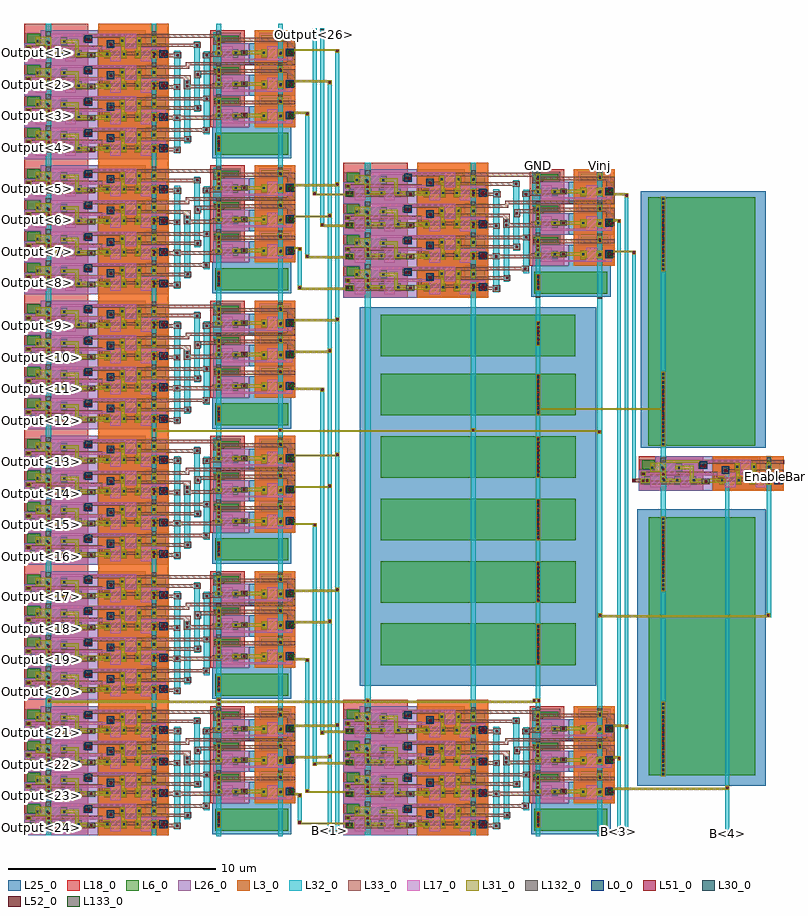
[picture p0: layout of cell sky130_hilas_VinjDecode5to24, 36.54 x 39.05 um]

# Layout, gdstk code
from math import pi, radians
import gdstk
lib = gdstk.Library(unit=1e-6, precision=1e-09)
def R(c, l, rs):  # rectangles x0, y0, x1, y1
    for r in rs: c.add(gdstk.rectangle(r[:2], r[2:], *l))
def A(c, l, x, y, w, h, nx, ny, dx, dy):  # array of equal rectangles
    R(c, l, [(x+i*dx, y+j*dy, x+i*dx+w, y+j*dy+h) for i in range(nx) for j in range(ny)])
L0_0 = (0, 0)
L3_0 = (3, 0)
L6_0 = (6, 0)
L17_0 = (17, 0)
L18_0 = (18, 0)
L25_0 = (25, 0)
L26_0 = (26, 0)
L30_0 = (30, 0)
L31_0 = (31, 0)
L32_0 = (32, 0)
L33_0 = (33, 0)
L51_0 = (51, 0)
L52_0 = (52, 0)
L132_0 = (132, 0)
L133_0 = (133, 0)

sky130_hilas_vinjnor3 = lib.new_cell('sky130_hilas_VinjNOR3')
R(sky130_hilas_vinjnor3, L0_0, [(-3.27,1.75,-2.9,2.12), (-0.74,2.24,-0.37,2.61), (0.32,2.48,0.69,2.85)])
R(sky130_hilas_vinjnor3, L3_0, [(-3.36,1.42,0.05,3.08)])
R(sky130_hilas_vinjnor3, L6_0, [(-2.79,1.73,-1.71,2.13), (-1.32,1.73,-0.26,2.13), (0.84,1.73,1.91,2.13), (2.27,1.73,3.34,2.13), (-2.06,2.35,-0.98,2.75), (1.53,2.35,2.61,2.75), (-3.2,2.44,-2.255,2.755), (2.84,2.47,3.445,2.91)])
R(sky130_hilas_vinjnor3, L17_0, [(-2.52,1.59,-2,2.18), (-1.05,1.59,-0.53,2.18), (1.13,1.59,1.63,2.18), (2.55,1.59,3.05,2.27), (-3.21,1.77,-2.95,2.18), (-3.21,2.18,-2,2.27), (-1.05,2.18,1.63,2.23), (2.55,2.18,3.46,2.3), (-1.78,2.21,-1.26,2.8), (1.84,2.21,2.34,2.8), (-1.05,2.23,1.63,2.25), (-1.05,2.25,1.63,2.3), (-0.74,2.3,-0.39,2.57), (0.33,2.51,0.68,2.8), (-1.78,2.8,2.34,2.84), (-1.78,2.84,2.34,2.89), (-1.78,2.89,2.34,2.92)])
R(sky130_hilas_vinjnor3, L18_0, [(-3.36,1.42,0.05,3.08), (0.52,1.42,3.61,3.08)])
R(sky130_hilas_vinjnor3, L25_0, [(-3.36,1.42,0.05,2.42), (-2.235,2.225,0.05,3.08), (2.81,2.45,3.61,2.93)])
R(sky130_hilas_vinjnor3, L26_0, [(0.05,1.42,3.61,2.45), (0.05,2.215,2.81,3.08), (-3.36,2.42,-2.235,2.93)])
R(sky130_hilas_vinjnor3, L30_0, [(-3.135,1.885,-3.045,1.975), (-2.715,1.885,-2.625,1.975), (-1.895,1.885,-1.805,1.975), (-1.245,1.885,-1.155,1.975), (-0.435,1.885,-0.345,1.975), (0.925,1.885,1.015,1.975), (1.725,1.885,1.815,1.975), (2.355,1.885,2.445,1.975), (3.145,1.885,3.235,1.975), (3.33,2.2,3.42,2.29), (-0.605,2.375,-0.515,2.465), (1.635,2.495,1.725,2.585), (2.435,2.495,2.525,2.585), (2.915,2.505,3.005,2.595), (-2.705,2.535,-2.615,2.625), (-1.975,2.535,-1.885,2.625), (-1.165,2.535,-1.075,2.625), (0.455,2.615,0.545,2.705)])
R(sky130_hilas_vinjnor3, L31_0, [(-2.75,1.73,-2.5,2.04), (-3.21,1.75,-2.985,2.11), (-2.01,1.76,-1.76,1.85), (-1.28,1.77,-1.07,1.85), (-0.56,1.81,1.15,2.02), (0.29,1.81,0.46,1.85), (3.085,1.81,3.52,2.02), (-2.01,1.85,-1.76,2.1), (-1.28,1.85,-1.07,2.1), (1.6,1.85,2.57,2.02), (0.98,2.02,1.15,2.46), (2.31,2.02,2.57,2.46), (-2.75,2.04,-2.5,2.1), (-2.01,2.1,-1.8,2.67), (-1.24,2.1,-1.07,2.42), (3.265,2.15,3.475,2.35), (-0.67,2.22,-0.47,2.32), (-0.67,2.32,-0.47,2.49), (2.31,2.35,3.05,2.77), (2.87,2.35,3.05,2.46), (-2.74,2.38,-2.55,2.48), (-1.24,2.42,-1.03,2.67), (0.98,2.46,1.85,2.63), (-2.74,2.48,-2.55,2.65), (-0.67,2.49,-0.47,2.59), (0.38,2.53,0.59,2.73), (2.31,2.64,2.57,2.71), (2.87,2.64,3.05,2.77), (-2.74,2.65,-2.55,2.79), (-2.01,2.67,-1.8,2.75), (-1.24,2.67,-1.03,2.75)])
R(sky130_hilas_vinjnor3, L32_0, [(-2.75,1.53,-2.53,1.73), (2.3,1.53,2.57,3.05), (-2.75,1.73,-2.5,2.04), (-3.305,1.75,-2.97,2.11), (0.19,1.75,0.58,2.02), (3.12,1.76,3.49,2.02), (-2.75,2.04,-2.53,2.44), (3.265,2.15,3.525,2.35), (-0.73,2.28,-0.4,2.54), (-2.75,2.44,-2.52,2.7), (0.32,2.5,0.75,2.79), (-2.75,2.7,-2.53,3.04)])
R(sky130_hilas_vinjnor3, L33_0, [(0.21,1.75,3.51,1.92), (-3.36,1.79,-2.96,1.95), (-2.96,1.89,0,2.05), (0.21,1.92,1.24,1.93), (3.12,1.92,3.51,2.02), (0.21,1.93,0.58,2.01), (-3.36,1.95,-2.96,2.05), (-0.16,2.05,0,2.34), (0,2.18,3.515,2.34), (-3.36,2.28,-0.4,2.44), (-1,2.44,-0.4,2.46), (-0.73,2.46,-0.4,2.54), (0.33,2.5,0.75,2.73), (-3.37,2.73,0.75,2.89)])
R(sky130_hilas_vinjnor3, L51_0, [(-2.68,1.76,-2.58,1.86), (-3.16,1.78,-3.06,1.88), (0.32,1.835,0.42,1.935), (3.155,1.87,3.255,1.97), (3.355,1.87,3.455,1.97), (2.38,1.955,2.48,2.055), (-2.68,1.96,-2.58,2.06), (-3.16,1.98,-3.06,2.08), (2.38,2.18,2.48,2.28), (3.315,2.2,3.415,2.3), (-0.64,2.345,-0.54,2.445), (2.38,2.425,2.48,2.525), (-2.69,2.505,-2.59,2.605), (0.41,2.565,0.51,2.665)])
R(sky130_hilas_vinjnor3, L52_0, [(0.335,1.83,0.435,1.93), (3.145,1.865,3.245,1.965), (3.345,1.865,3.445,1.965), (-3.29,1.87,-3.19,1.97), (-3.09,1.87,-2.99,1.97), (3.345,2.195,3.445,2.295), (-0.605,2.36,-0.505,2.46), (0.36,2.58,0.46,2.68), (0.56,2.58,0.66,2.68)])
R(sky130_hilas_vinjnor3, L132_0, [(-3.3,1.755,-2.975,2.105), (0.195,1.76,0.575,2.01), (-0.72,2.285,-0.405,2.53), (0.33,2.505,0.74,2.78), (2.315,2.79,2.56,3.025), (-2.74,2.815,-2.54,3.025)])
sky130_hilas_vinjnor3.add(gdstk.Label('VGND', (2.425,2.93), layer=132, texttype=0))
sky130_hilas_vinjnor3.add(gdstk.Label('Vinj', (-2.645,2.925), layer=132, texttype=0))
sky130_hilas_vinjnor3.add(gdstk.Label('OUT', (0.375,1.9), layer=132, texttype=0))
sky130_hilas_vinjnor3.add(gdstk.Label('IN2', (-0.565,2.455), layer=132, texttype=0))
sky130_hilas_vinjnor3.add(gdstk.Label('IN1', (0.53,2.715), layer=132, texttype=0))
sky130_hilas_vinjnor3.add(gdstk.Label('NENABLE', (-3.145,2.025), layer=132, texttype=0))

m2_m1_cdns_6649314873913 = lib.new_cell('M2_M1_CDNS_6649314873913')
R(m2_m1_cdns_6649314873913, L31_0, [(-0.09,-0.29,0.09,0.29)])
R(m2_m1_cdns_6649314873913, L32_0, [(-0.09,-0.29,0.09,0.29)])
A(m2_m1_cdns_6649314873913, L51_0, -0.05, -0.25, 0.1, 0.1, 1, 3, 0, 0.2)

sky130_hilas_vinjinv2 = lib.new_cell('sky130_hilas_VinjInv2')
R(sky130_hilas_vinjinv2, L0_0, [(-3.27,1.82,-2.9,2.19)])
R(sky130_hilas_vinjinv2, L3_0, [(-3.36,1.44,-1.4,3.08)])
R(sky130_hilas_vinjinv2, L6_0, [(-2.79,1.77,-1.71,2.17), (-0.62,1.77,0.46,2.17), (-3.06,2.48,-1.725,2.845), (-0.645,2.54,0.54,2.825)])
R(sky130_hilas_vinjinv2, L17_0, [(-3.21,1.63,0.18,1.72), (-2.52,1.63,-2,2.31), (-0.34,1.63,0.18,2.31), (-3.21,1.72,-2.95,2.22)])
R(sky130_hilas_vinjinv2, L18_0, [(-3.36,1.44,-1.4,3.08), (-0.93,1.44,0.73,3.08)])
R(sky130_hilas_vinjinv2, L25_0, [(-3.36,1.44,-1.145,2.46), (-0.735,2.46,0.59,2.95)])
R(sky130_hilas_vinjinv2, L26_0, [(-1.145,1.44,0.59,2.46), (-3.165,2.46,-1.615,2.95)])
R(sky130_hilas_vinjinv2, L30_0, [(0.28,1.94,0.37,2.03), (-3.13,1.95,-3.04,2.04), (-2.71,1.95,-2.62,2.04), (-1.89,1.95,-1.8,2.04), (-0.53,1.95,-0.44,2.04), (-2.7,2.605,-2.61,2.695), (0.28,2.64,0.37,2.73)])
R(sky130_hilas_vinjinv2, L31_0, [(-3.19,1.82,-3,1.9), (-2.75,1.82,-2.5,1.84), (-2.01,1.83,-1.76,1.92), (-2.75,1.84,-2.5,2.11), (-3.19,1.9,-3,2.07), (0.16,1.91,0.49,2.08), (-2.01,1.92,-0.32,2.09), (-3.19,2.07,-3,2.18), (0.24,2.08,0.42,2.86), (-2.01,2.09,-1.76,2.17), (-2.75,2.11,-2.5,2.17), (-2.74,2.555,-2.55,2.655), (-2.74,2.655,-2.55,2.825), (-2.74,2.825,-2.55,2.965)])
R(sky130_hilas_vinjinv2, L32_0, [(-2.75,1.44,-2.53,1.53), (0.21,1.44,0.44,1.53), (-2.75,1.53,-2.53,1.8), (0.21,1.53,0.44,3.04), (-2.75,1.8,-2.5,2.11), (-3.28,1.83,-2.97,2.18), (-1.06,1.87,-0.74,2.13), (-2.75,2.11,-2.53,2.615), (-2.75,2.615,-2.52,2.875), (-2.75,2.875,-2.53,3.01), (-2.75,3.01,-2.53,3.08), (0.21,3.04,0.44,3.08)])
R(sky130_hilas_vinjinv2, L33_0, [(-3.29,1.86,-2.96,2.02), (-1.06,1.87,0.64,2.05), (-3.29,2.02,-2.96,2.12), (-1.06,2.05,-0.74,2.13), (-3.36,2.54,0.54,2.72)])
R(sky130_hilas_vinjinv2, L51_0, [(-3.16,1.85,-3.06,1.95), (-2.68,1.91,-2.58,2.01), (-0.95,1.96,-0.85,2.06), (-3.16,2.05,-3.06,2.15), (-2.69,2.66,-2.59,2.76)])
R(sky130_hilas_vinjinv2, L52_0, [(-3.28,1.94,-3.18,2.04), (-3.08,1.94,-2.98,2.04), (-0.95,1.96,-0.85,2.06)])
R(sky130_hilas_vinjinv2, L132_0, [(-3.27,1.835,-2.98,2.17), (-1.05,1.885,-0.75,2.12), (0.22,2.87,0.435,3.03), (-2.735,2.895,-2.54,2.995)])
sky130_hilas_vinjinv2.add(gdstk.Reference(m2_m1_cdns_6649314873913, (0.33,2.41)))
sky130_hilas_vinjinv2.add(gdstk.Label('VGND', (0.32,2.96), layer=132, texttype=0))
sky130_hilas_vinjinv2.add(gdstk.Label('OUT', (-0.9,2.01), layer=132, texttype=0))
sky130_hilas_vinjinv2.add(gdstk.Label('IN', (-3.12,2.02), layer=132, texttype=0))
sky130_hilas_vinjinv2.add(gdstk.Label('Vinj', (-2.64,2.95), layer=132, texttype=0))

m2_m1_cdns_6649314873910 = lib.new_cell('M2_M1_CDNS_6649314873910')
R(m2_m1_cdns_6649314873910, L31_0, [(-0.09,-0.39,0.09,0.39)])
R(m2_m1_cdns_6649314873910, L32_0, [(-0.09,-0.39,0.09,0.39)])
A(m2_m1_cdns_6649314873910, L51_0, -0.05, -0.35, 0.1, 0.1, 1, 4, 0, 0.2)

m1_od_cdns_6649314873911 = lib.new_cell('M1_OD_CDNS_6649314873911')
R(m1_od_cdns_6649314873911, L6_0, [(-0.075,-0.35,0.075,0.35)])
A(m1_od_cdns_6649314873911, L30_0, -0.045, -0.285, 0.09, 0.09, 1, 3, 0, 0.24)
R(m1_od_cdns_6649314873911, L31_0, [(-0.09,-0.39,0.09,0.39)])

m3_m2_cdns_6649314873912 = lib.new_cell('M3_M2_CDNS_6649314873912')
R(m3_m2_cdns_6649314873912, L32_0, [(-0.09,-0.19,0.09,0.19)])
R(m3_m2_cdns_6649314873912, L33_0, [(-0.09,-0.19,0.09,0.19)])
R(m3_m2_cdns_6649314873912, L52_0, [(-0.05,-0.15,0.05,-0.05), (-0.05,0.05,0.05,0.15)])

sky130_hilas_vinjdecode2 = lib.new_cell('sky130_hilas_VinjDecode2to4')
R(sky130_hilas_vinjdecode2, L3_0, [(6.69,0.13,6.91,0.18), (6.69,6.08,6.91,6.14), (6.08,6.19,9.49,6.5)])
R(sky130_hilas_vinjdecode2, L6_0, [(0.35,0.2,3.865,1.26)])
R(sky130_hilas_vinjdecode2, L18_0, [(6.08,6.19,9.49,6.5), (9.96,6.19,13.05,6.5)])
R(sky130_hilas_vinjdecode2, L25_0, [(0.195,0.04,4.01,1.53)])
R(sky130_hilas_vinjdecode2, L32_0, [(0.61,-0.055,0.83,1.565), (3.57,-0.055,3.8,0.385), (6.69,0,6.91,0.11), (11.74,0,12.01,0.11), (6.69,0.13,6.91,0.18), (5.54,0.27,5.83,1.81), (3.57,0.335,3.8,1.685), (5.06,0.76,5.34,0.79), (5.06,0.79,5.34,1.12), (5.06,1.12,5.34,3.33), (4.12,1.19,4.4,1.24), (4.12,1.24,4.4,1.57), (4.12,1.57,4.4,2.74), (5.54,1.81,5.83,2.16), (5.54,2.16,5.83,4.81), (4.57,2.27,4.87,2.29), (4.57,2.29,4.87,2.62), (4.59,2.62,4.87,3.93), (4.12,2.74,4.4,3.07), (4.12,3.07,4.4,5.19), (0.61,3.085,0.83,4.705), (5.06,3.33,5.34,3.66), (5.06,3.66,5.34,3.785), (4.54,3.93,4.87,4.2), (4.59,4.2,4.87,5.66), (3.63,4.39,3.96,4.42), (3.63,4.42,3.96,4.75), (3.63,4.75,3.96,5.53), (5.54,4.81,5.83,5.16), (5.54,5.16,5.83,5.21), (3.63,5.53,3.96,5.8), (3.63,5.8,3.96,6.09), (0.61,6.07,0.83,6.15), (6.69,6.08,6.91,6.14), (0.61,6.15,0.83,6.5), (3.57,6.15,3.8,6.5), (6.69,6.15,6.91,6.5), (11.74,6.16,12.01,6.5)])
A(sky130_hilas_vinjdecode2, L33_0, 12.82, 1.84, 0.13, 0.17, 1, 3, 0, 1.51)
R(sky130_hilas_vinjdecode2, L33_0, [(5.51,0.3,5.86,0.38), (12.82,0.34,12.95,0.51), (5.51,0.38,6.08,0.54), (5.51,0.54,5.86,0.59), (5.01,0.82,5.34,0.87), (5.01,0.87,6.08,1.03), (5.01,1.03,5.34,1.09), (4.13,1.27,4.46,1.32), (4.13,1.32,6.08,1.48), (4.13,1.48,4.46,1.54), (5.52,1.84,5.87,1.88), (5.52,1.88,6.08,1.89), (3.43,1.89,6.08,2.07), (0,1.95,0.07,1.99), (0,1.99,0.11,2.17), (3.43,2.04,6.01,2.07), (5.52,2.07,5.87,2.13), (0,2.17,0.07,2.21), (4.54,2.32,4.87,2.37), (4.54,2.37,6.08,2.53), (4.54,2.53,4.87,2.59), (4.09,2.77,4.42,2.82), (4.09,2.82,6.08,2.98), (4.09,2.98,4.42,3.04), (5.53,3.33,5.85,3.39), (5.04,3.36,5.37,3.4), (5.53,3.39,6.08,3.55), (3.43,3.4,5.37,3.58), (0,3.46,0.4,4.32), (5.53,3.55,5.85,3.59), (5.04,3.58,5.37,3.63), (5.04,3.63,5.37,3.88), (4.57,3.88,4.84,3.9), (5.04,3.88,6.08,4.04), (4.57,3.9,4.84,4.04), (4.57,4.04,4.84,4.07), (3.43,4.07,4.84,4.23), (3.43,4.23,4.84,4.25), (5.11,4.33,6.07,4.49), (5.11,4.49,5.27,4.5), (0,4.5,5.27,4.66), (0,4.66,0.4,5.65), (5.49,4.84,5.84,4.9), (4.1,4.85,4.45,4.9), (4.1,4.9,4.45,4.91), (5.49,4.9,6.08,5.06), (3.43,4.91,4.45,5.09), (5.49,5.06,5.84,5.13), (4.1,5.09,4.45,5.12), (4.56,5.34,4.89,5.39), (4.56,5.39,6.08,5.55), (3.66,5.5,3.96,5.58), (4.56,5.55,4.89,5.61), (3.43,5.58,3.96,5.76), (3.69,5.76,3.96,5.83), (3.685,5.83,6.075,5.99), (3.69,5.83,3.96,5.84), (3.685,5.99,6.08,6)])
R(sky130_hilas_vinjdecode2, L52_0, [(5.635,0.395,5.735,0.495), (5.125,0.905,5.225,1.005), (4.245,1.355,4.345,1.455), (5.645,1.935,5.745,2.035), (4.655,2.405,4.755,2.505), (4.205,2.855,4.305,2.955), (5.64,3.41,5.74,3.51), (5.155,3.445,5.255,3.545), (4.655,4.015,4.755,4.115), (4.215,4.935,4.315,5.035), (5.615,4.935,5.715,5.035), (4.675,5.425,4.775,5.525)])
R(sky130_hilas_vinjdecode2, L132_0, [(3.58,5.98,3.795,6.14), (0.625,6.005,0.82,6.105)])
R(sky130_hilas_vinjdecode2, L133_0, [(12.59,0.345,12.93,0.58), (12.585,1.875,12.94,2.085), (0.085,1.96,0.38,2.19), (12.585,3.37,12.93,3.6), (0.09,3.47,0.395,3.705), (12.58,4.87,12.935,5.115), (0.08,4.98,0.395,5.225)])
sky130_hilas_vinjdecode2.add(gdstk.Reference(sky130_hilas_vinjnor3, (9.44,-1.42)))
sky130_hilas_vinjdecode2.add(gdstk.Reference(sky130_hilas_vinjnor3, (9.44,3.11)))
sky130_hilas_vinjdecode2.add(gdstk.Reference(sky130_hilas_vinjnor3, (9.44,0.09)))
sky130_hilas_vinjdecode2.add(gdstk.Reference(sky130_hilas_vinjnor3, (9.44,1.6)))
sky130_hilas_vinjdecode2.add(gdstk.Reference(sky130_hilas_vinjinv2, (3.36,0.09)))
sky130_hilas_vinjdecode2.add(gdstk.Reference(sky130_hilas_vinjinv2, (3.36,1.6)))
sky130_hilas_vinjdecode2.add(gdstk.Reference(sky130_hilas_vinjinv2, (3.36,3.11)))
sky130_hilas_vinjdecode2.add(gdstk.Reference(m2_m1_cdns_6649314873910, (3.68,0.745)))
sky130_hilas_vinjdecode2.add(gdstk.Reference(m1_od_cdns_6649314873911, (3.68,0.745)))
sky130_hilas_vinjdecode2.add(gdstk.Reference(m3_m2_cdns_6649314873912, (5.205,3.595)))
sky130_hilas_vinjdecode2.add(gdstk.Label('VGND', (3.68,6.07), layer=132, texttype=0))
sky130_hilas_vinjdecode2.add(gdstk.Label('Vinj', (0.72,6.06), layer=132, texttype=0))
sky130_hilas_vinjdecode2.add(gdstk.Label('OUT11', (12.75,0.465), layer=133, texttype=0))
sky130_hilas_vinjdecode2.add(gdstk.Label('OUT10', (12.795,1.98), layer=133, texttype=0))
sky130_hilas_vinjdecode2.add(gdstk.Label('OUT01', (12.77,3.475), layer=133, texttype=0))
sky130_hilas_vinjdecode2.add(gdstk.Label('OUT00', (12.775,4.985), layer=133, texttype=0))
sky130_hilas_vinjdecode2.add(gdstk.Label('IN1', (0.195,5.125), layer=133, texttype=0))
sky130_hilas_vinjdecode2.add(gdstk.Label('ENABLE', (0.28,2.1), layer=133, texttype=0))
sky130_hilas_vinjdecode2.add(gdstk.Label('IN2', (0.235,3.595), layer=133, texttype=0))

m2_m1_cdns_664931487390 = lib.new_cell('M2_M1_CDNS_664931487390')
R(m2_m1_cdns_664931487390, L31_0, [(-0.09,-0.09,0.09,0.09)])
R(m2_m1_cdns_664931487390, L32_0, [(-0.09,-0.09,0.09,0.09)])
R(m2_m1_cdns_664931487390, L51_0, [(-0.05,-0.05,0.05,0.05)])

m1_od_cdns_664931487396 = lib.new_cell('M1_OD_CDNS_664931487396')
R(m1_od_cdns_664931487396, L6_0, [(-0.075,-0.95,0.075,0.95)])
A(m1_od_cdns_664931487396, L30_0, -0.045, -0.885, 0.09, 0.09, 1, 9, 0, 0.21)
R(m1_od_cdns_664931487396, L31_0, [(-0.09,-0.99,0.09,0.99)])

m2_m1_cdns_664931487397 = lib.new_cell('M2_M1_CDNS_664931487397')
R(m2_m1_cdns_664931487397, L31_0, [(-0.09,-0.99,0.09,0.99)])
R(m2_m1_cdns_664931487397, L32_0, [(-0.09,-0.99,0.09,0.99)])
A(m2_m1_cdns_664931487397, L51_0, -0.05, -0.95, 0.1, 0.1, 1, 10, 0, 0.2)

m2_m1_cdns_664931487398 = lib.new_cell('M2_M1_CDNS_664931487398')
R(m2_m1_cdns_664931487398, L31_0, [(-0.19,-0.09,0.19,0.09)])
R(m2_m1_cdns_664931487398, L32_0, [(-0.19,-0.09,0.19,0.09)])
R(m2_m1_cdns_664931487398, L51_0, [(-0.15,-0.05,-0.05,0.05), (0.05,-0.05,0.15,0.05)])

m2_m1_cdns_664931487399 = lib.new_cell('M2_M1_CDNS_664931487399')
R(m2_m1_cdns_664931487399, L31_0, [(-0.09,-0.19,0.09,0.19)])
R(m2_m1_cdns_664931487399, L32_0, [(-0.09,-0.19,0.09,0.19)])
R(m2_m1_cdns_664931487399, L51_0, [(-0.05,-0.15,0.05,-0.05), (-0.05,0.05,0.05,0.15)])

sky130_hilas_vinjdecode4 = lib.new_cell('sky130_hilas_VinjDecode4to16')
A(sky130_hilas_vinjdecode4, L6_0, 2.54, 8.17, 9.37, 2, 1, 5, 0, 3)
R(sky130_hilas_vinjdecode4, L25_0, [(1.54,7.17,12.91,23.17)])
R(sky130_hilas_vinjdecode4, L31_0, [(27.665,6.365,27.75,6.455), (22.575,19.38,22.7,19.47)])
R(sky130_hilas_vinjdecode4, L32_0, [(1.27,6.15,1.49,26), (7.35,6.15,7.57,26), (12.4,6.16,12.67,26)])
R(sky130_hilas_vinjdecode4, L132_0, [(0,0,0.18,0.08), (0.36,0,0.54,0.08), (13.91,0,14.09,0.065), (14.27,0,14.45,0.055), (0.75,2.235,0.8,2.26), (1.27,25.78,1.49,25.855), (4.23,25.835,4.46,25.915)])
A(sky130_hilas_vinjdecode4, L133_0, 28.83, 0.545, 0.055, 0.025, 1, 4, 0, 1.515)
A(sky130_hilas_vinjdecode4, L133_0, 28.775, 7.045, 0.105, 0.025, 1, 4, 0, 1.515)
A(sky130_hilas_vinjdecode4, L133_0, 28.795, 13.54, 0.075, 0.03, 1, 4, 0, 1.515)
A(sky130_hilas_vinjdecode4, L133_0, 28.8, 20.045, 0.095, 0.02, 1, 4, 0, 1.515)
sky130_hilas_vinjdecode4.add(gdstk.FlexPath([(4.345,6.15),(4.345,26)], 0.23, ends="flush", simple_path=True, layer=32, datatype=0))  # L32_0
sky130_hilas_vinjdecode4.add(gdstk.FlexPath([(0.09,0),(0.09,26)], 0.18, ends="flush", simple_path=True, layer=32, datatype=0))  # L32_0
sky130_hilas_vinjdecode4.add(gdstk.FlexPath([(0.45,0),(0.45,26)], 0.18, ends="flush", simple_path=True, layer=32, datatype=0))  # L32_0
sky130_hilas_vinjdecode4.add(gdstk.FlexPath([(14.72,4.83),(14.72,21.325)], 0.18, ends="flush", simple_path=True, layer=32, datatype=0))  # L32_0
sky130_hilas_vinjdecode4.add(gdstk.FlexPath([(14,0),(14,26)], 0.18, ends="flush", simple_path=True, layer=32, datatype=0))  # L32_0
sky130_hilas_vinjdecode4.add(gdstk.FlexPath([(14.36,0),(14.36,26)], 0.18, ends="flush", simple_path=True, layer=32, datatype=0))  # L32_0
sky130_hilas_vinjdecode4.add(gdstk.FlexPath([(15.08,3.41),(15.08,14.885)], 0.18, ends="flush", simple_path=True, layer=32, datatype=0))  # L32_0
sky130_hilas_vinjdecode4.add(gdstk.FlexPath([(15.8,0.51),(15.8,2)], 0.18, ends="flush", simple_path=True, layer=32, datatype=0))  # L32_0
sky130_hilas_vinjdecode4.add(gdstk.FlexPath([(15.44,2.02),(15.44,8.5)], 0.18, ends="flush", simple_path=True, layer=32, datatype=0))  # L32_0
sky130_hilas_vinjdecode4.add(gdstk.FlexPath([(27.665,6.41),(4.285,6.41)], 0.09, ends="flush", simple_path=True, layer=31, datatype=0))  # L31_0
sky130_hilas_vinjdecode4.add(gdstk.FlexPath([(22.575,19.425),(1.34,19.425)], 0.09, ends="flush", simple_path=True, layer=31, datatype=0))  # L31_0
sky130_hilas_vinjdecode4.add(gdstk.FlexPath([(0.83,5.245),(0.085,5.245)], 0.09, ends="flush", simple_path=True, layer=31, datatype=0))  # L31_0
sky130_hilas_vinjdecode4.add(gdstk.FlexPath([(0.83,3.735),(0.44,3.735)], 0.09, ends="flush", simple_path=True, layer=31, datatype=0))  # L31_0
sky130_hilas_vinjdecode4.add(gdstk.FlexPath([(16.18,24.745),(13.97,24.745)], 0.09, ends="flush", simple_path=True, layer=31, datatype=0))  # L31_0
sky130_hilas_vinjdecode4.add(gdstk.FlexPath([(16.18,18.245),(13.95,18.245)], 0.09, ends="flush", simple_path=True, layer=31, datatype=0))  # L31_0
sky130_hilas_vinjdecode4.add(gdstk.FlexPath([(16.18,16.735),(14.345,16.735)], 0.09, ends="flush", simple_path=True, layer=31, datatype=0))  # L31_0
sky130_hilas_vinjdecode4.add(gdstk.FlexPath([(16.18,23.235),(14.405,23.235)], 0.09, ends="flush", simple_path=True, layer=31, datatype=0))  # L31_0
sky130_hilas_vinjdecode4.add(gdstk.FlexPath([(16.18,11.745),(13.97,11.745)], 0.09, ends="flush", simple_path=True, layer=31, datatype=0))  # L31_0
sky130_hilas_vinjdecode4.add(gdstk.FlexPath([(16.18,10.235),(14.37,10.235)], 0.09, ends="flush", simple_path=True, layer=31, datatype=0))  # L31_0
sky130_hilas_vinjdecode4.add(gdstk.FlexPath([(16.18,5.245),(13.975,5.245)], 0.09, ends="flush", simple_path=True, layer=31, datatype=0))  # L31_0
sky130_hilas_vinjdecode4.add(gdstk.FlexPath([(16.18,3.735),(14.345,3.735)], 0.09, ends="flush", simple_path=True, layer=31, datatype=0))  # L31_0
sky130_hilas_vinjdecode4.add(gdstk.FlexPath([(16.2,21.455),(14.67,21.455)], 0.09, ends="flush", simple_path=True, layer=31, datatype=0))  # L31_0
sky130_hilas_vinjdecode4.add(gdstk.FlexPath([(16.18,14.955),(15.055,14.955)], 0.09, ends="flush", simple_path=True, layer=31, datatype=0))  # L31_0
sky130_hilas_vinjdecode4.add(gdstk.FlexPath([(16.185,8.455),(15.35,8.455)], 0.09, ends="flush", simple_path=True, layer=31, datatype=0))  # L31_0
sky130_hilas_vinjdecode4.add(gdstk.FlexPath([(13.56,4.965),(14.75,4.965)], 0.09, ends="flush", simple_path=True, layer=31, datatype=0))  # L31_0
sky130_hilas_vinjdecode4.add(gdstk.FlexPath([(13.595,3.455),(15.105,3.455)], 0.09, ends="flush", simple_path=True, layer=31, datatype=0))  # L31_0
sky130_hilas_vinjdecode4.add(gdstk.FlexPath([(13.59,2.065),(15.465,2.065)], 0.09, ends="flush", simple_path=True, layer=31, datatype=0))  # L31_0
sky130_hilas_vinjdecode4.add(gdstk.FlexPath([(16.185,1.955),(15.735,1.955)], 0.09, ends="flush", simple_path=True, layer=31, datatype=0))  # L31_0
sky130_hilas_vinjdecode4.add(gdstk.FlexPath([(13.62,0.555),(15.875,0.555)], 0.09, ends="flush", simple_path=True, layer=31, datatype=0))  # L31_0
r = gdstk.Reference(sky130_hilas_vinjdecode2, (16.01,0)); r.repetition = gdstk.Repetition(1, 4, v1=(13.119,0), v2=(0,6.5)); sky130_hilas_vinjdecode4.add(r)
sky130_hilas_vinjdecode4.add(gdstk.Reference(sky130_hilas_vinjdecode2, (0.66,0)))
sky130_hilas_vinjdecode4.add(gdstk.Reference(m2_m1_cdns_664931487390, (22.79,19.47)))
sky130_hilas_vinjdecode4.add(gdstk.Reference(m2_m1_cdns_664931487390, (16.735,19.47)))
sky130_hilas_vinjdecode4.add(gdstk.Reference(m2_m1_cdns_664931487390, (7.46,19.47)))
sky130_hilas_vinjdecode4.add(gdstk.Reference(m2_m1_cdns_664931487390, (1.4,19.38)))
sky130_hilas_vinjdecode4.add(gdstk.Reference(m2_m1_cdns_664931487390, (27.84,6.455)))
sky130_hilas_vinjdecode4.add(gdstk.Reference(m2_m1_cdns_664931487390, (12.53,6.455)))
sky130_hilas_vinjdecode4.add(gdstk.Reference(m2_m1_cdns_664931487390, (0.09,5.2)))
sky130_hilas_vinjdecode4.add(gdstk.Reference(m2_m1_cdns_664931487390, (0.45,3.69)))
sky130_hilas_vinjdecode4.add(gdstk.Reference(m2_m1_cdns_664931487390, (14,24.79)))
sky130_hilas_vinjdecode4.add(gdstk.Reference(m2_m1_cdns_664931487390, (14.36,23.28)))
sky130_hilas_vinjdecode4.add(gdstk.Reference(m2_m1_cdns_664931487390, (14,18.29)))
sky130_hilas_vinjdecode4.add(gdstk.Reference(m2_m1_cdns_664931487390, (14.36,16.78)))
sky130_hilas_vinjdecode4.add(gdstk.Reference(m2_m1_cdns_664931487390, (14,11.79)))
sky130_hilas_vinjdecode4.add(gdstk.Reference(m2_m1_cdns_664931487390, (14.36,10.28)))
sky130_hilas_vinjdecode4.add(gdstk.Reference(m2_m1_cdns_664931487390, (14,5.29)))
sky130_hilas_vinjdecode4.add(gdstk.Reference(m2_m1_cdns_664931487390, (14.36,3.78)))
sky130_hilas_vinjdecode4.add(gdstk.Reference(m2_m1_cdns_664931487390, (14.72,21.41)))
sky130_hilas_vinjdecode4.add(gdstk.Reference(m2_m1_cdns_664931487390, (15.08,14.91)))
sky130_hilas_vinjdecode4.add(gdstk.Reference(m2_m1_cdns_664931487390, (15.44,8.41)))
sky130_hilas_vinjdecode4.add(gdstk.Reference(m2_m1_cdns_664931487390, (14.72,4.92)))
sky130_hilas_vinjdecode4.add(gdstk.Reference(m2_m1_cdns_664931487390, (15.08,3.41)))
sky130_hilas_vinjdecode4.add(gdstk.Reference(m2_m1_cdns_664931487390, (15.44,2.11)))
sky130_hilas_vinjdecode4.add(gdstk.Reference(m2_m1_cdns_664931487390, (15.8,1.91)))
sky130_hilas_vinjdecode4.add(gdstk.Reference(m2_m1_cdns_664931487390, (15.8,0.6)))
sky130_hilas_vinjdecode4.add(gdstk.Reference(m1_od_cdns_664931487396, (4.34,21.17)))
sky130_hilas_vinjdecode4.add(gdstk.Reference(m1_od_cdns_664931487396, (4.345,18.165)))
sky130_hilas_vinjdecode4.add(gdstk.Reference(m1_od_cdns_664931487396, (4.34,15.165)))
sky130_hilas_vinjdecode4.add(gdstk.Reference(m1_od_cdns_664931487396, (4.34,9.17)))
sky130_hilas_vinjdecode4.add(gdstk.Reference(m1_od_cdns_664931487396, (4.345,12.17)))
sky130_hilas_vinjdecode4.add(gdstk.Reference(m2_m1_cdns_664931487397, (4.34,21.17)))
sky130_hilas_vinjdecode4.add(gdstk.Reference(m2_m1_cdns_664931487397, (4.345,18.165)))
sky130_hilas_vinjdecode4.add(gdstk.Reference(m2_m1_cdns_664931487397, (4.34,15.165)))
sky130_hilas_vinjdecode4.add(gdstk.Reference(m2_m1_cdns_664931487397, (4.34,9.17)))
sky130_hilas_vinjdecode4.add(gdstk.Reference(m2_m1_cdns_664931487397, (4.345,12.17)))
sky130_hilas_vinjdecode4.add(gdstk.Reference(m2_m1_cdns_664931487398, (4.42,6.455)))
sky130_hilas_vinjdecode4.add(gdstk.Reference(m2_m1_cdns_664931487399, (19.695,6.41)))
sky130_hilas_vinjdecode4.add(gdstk.Label('Enable', (0.775,2.25), layer=132, texttype=0))
sky130_hilas_vinjdecode4.add(gdstk.Label('B<1>', (14.365,0.055), layer=132, texttype=0))
sky130_hilas_vinjdecode4.add(gdstk.Label('B<0>', (14,0.06), layer=132, texttype=0))
sky130_hilas_vinjdecode4.add(gdstk.Label('B<3>', (0.455,0.06), layer=132, texttype=0))
sky130_hilas_vinjdecode4.add(gdstk.Label('Vinj', (1.37,25.815), layer=132, texttype=0))
sky130_hilas_vinjdecode4.add(gdstk.Label('GND', (4.345,25.865), layer=132, texttype=0))
sky130_hilas_vinjdecode4.add(gdstk.Label('B<2>', (0.1,0.055), layer=132, texttype=0))
sky130_hilas_vinjdecode4.add(gdstk.Label('Out<16>', (28.855,0.56), layer=133, texttype=0))
sky130_hilas_vinjdecode4.add(gdstk.Label('Out<15>', (28.855,2.075), layer=133, texttype=0))
sky130_hilas_vinjdecode4.add(gdstk.Label('Out<14>', (28.855,3.59), layer=133, texttype=0))
sky130_hilas_vinjdecode4.add(gdstk.Label('Out<13>', (28.855,5.105), layer=133, texttype=0))
sky130_hilas_vinjdecode4.add(gdstk.Label('Out<12>', (28.83,7.06), layer=133, texttype=0))
sky130_hilas_vinjdecode4.add(gdstk.Label('Out<11>', (28.83,8.575), layer=133, texttype=0))
sky130_hilas_vinjdecode4.add(gdstk.Label('Out<10>', (28.83,10.09), layer=133, texttype=0))
sky130_hilas_vinjdecode4.add(gdstk.Label('Out<9>', (28.83,11.605), layer=133, texttype=0))
sky130_hilas_vinjdecode4.add(gdstk.Label('Out<8>', (28.825,13.55), layer=133, texttype=0))
sky130_hilas_vinjdecode4.add(gdstk.Label('Out<7>', (28.825,15.065), layer=133, texttype=0))
sky130_hilas_vinjdecode4.add(gdstk.Label('Out<6>', (28.825,16.58), layer=133, texttype=0))
sky130_hilas_vinjdecode4.add(gdstk.Label('Out<5>', (28.825,18.095), layer=133, texttype=0))
sky130_hilas_vinjdecode4.add(gdstk.Label('Out<4>', (28.855,20.06), layer=133, texttype=0))
sky130_hilas_vinjdecode4.add(gdstk.Label('Out<3>', (28.855,21.575), layer=133, texttype=0))
sky130_hilas_vinjdecode4.add(gdstk.Label('Out<1>', (28.855,24.605), layer=133, texttype=0))
sky130_hilas_vinjdecode4.add(gdstk.Label('Out<2>', (28.855,23.09), layer=133, texttype=0))

m3_m2_cdns_664931487391 = lib.new_cell('M3_M2_CDNS_664931487391')
R(m3_m2_cdns_664931487391, L32_0, [(-0.09,-0.09,0.09,0.09)])
R(m3_m2_cdns_664931487391, L33_0, [(-0.09,-0.09,0.09,0.09)])
R(m3_m2_cdns_664931487391, L52_0, [(-0.05,-0.05,0.05,0.05)])

m2_m1_cdns_664931487392 = lib.new_cell('M2_M1_CDNS_664931487392')
R(m2_m1_cdns_664931487392, L31_0, [(-0.09,-1.79,0.09,1.79)])
R(m2_m1_cdns_664931487392, L32_0, [(-0.09,-1.79,0.09,1.79)])
A(m2_m1_cdns_664931487392, L51_0, -0.05, -1.75, 0.1, 0.1, 1, 18, 0, 0.2)

m1_od_cdns_664931487393 = lib.new_cell('M1_OD_CDNS_664931487393')
R(m1_od_cdns_664931487393, L6_0, [(-0.075,-1.755,0.075,1.755)])
A(m1_od_cdns_664931487393, L30_0, -0.045, -1.725, 0.09, 0.09, 1, 17, 0, 0.21)
R(m1_od_cdns_664931487393, L31_0, [(-0.09,-1.79,0.09,1.79)])

m2_m1_cdns_664931487394 = lib.new_cell('M2_M1_CDNS_664931487394')
R(m2_m1_cdns_664931487394, L31_0, [(-0.09,-0.59,0.09,0.59)])
R(m2_m1_cdns_664931487394, L32_0, [(-0.09,-0.59,0.09,0.59)])
A(m2_m1_cdns_664931487394, L51_0, -0.05, -0.55, 0.1, 0.1, 1, 6, 0, 0.2)

m1_od_cdns_664931487395 = lib.new_cell('M1_OD_CDNS_664931487395')
R(m1_od_cdns_664931487395, L6_0, [(-0.075,-0.55,0.075,0.55)])
A(m1_od_cdns_664931487395, L30_0, -0.045, -0.505, 0.09, 0.09, 1, 5, 0, 0.23)
R(m1_od_cdns_664931487395, L31_0, [(-0.09,-0.59,0.09,0.59)])

sky130_hilas_vinjdecode5 = lib.new_cell('sky130_hilas_VinjDecode5to24')
R(sky130_hilas_vinjdecode5, L6_0, [(30.17,2.92,35.285,15.325), (30.14,18.78,35.285,30.71), (17.27,23.065,26.64,25.08)])
R(sky130_hilas_vinjdecode5, L25_0, [(29.62,2.425,35.785,15.71), (29.78,18.685,35.785,31.015), (16.275,23.225,27.645,25.425)])
R(sky130_hilas_vinjdecode5, L31_0, [(32.705,17.785,32.915,17.825), (32.545,17.825,32.915,17.945), (30.83,17.945,32.65,18.065)])
R(sky130_hilas_vinjdecode5, L32_0, [(30.745,2.885,30.975,2.925), (27.695,26.055,27.915,27.505), (30.745,30.71,30.975,30.745)])
R(sky130_hilas_vinjdecode5, L33_0, [(29.545,17.015,29.785,17.195)])
R(sky130_hilas_vinjdecode5, L132_0, [(33.845,0.055,34.025,0.085), (28.645,0.195,28.825,0.265), (29.005,0.21,29.185,0.265), (15.095,0.24,15.275,0.315), (14.735,0.245,14.915,0.315), (36.415,17.25,36.555,17.27), (24.725,32.195,24.955,32.285), (27.695,32.235,27.915,32.305), (14.055,38.505,14.125,38.555), (14.4,38.745,14.54,38.795)])
A(sky130_hilas_vinjdecode5, L133_0, 0.31, 0.415, 0.07, 0.025, 1, 4, 0, 1.515)
A(sky130_hilas_vinjdecode5, L133_0, 0.28, 6.945, 0.11, 0.025, 1, 4, 0, 1.515)
A(sky130_hilas_vinjdecode5, L133_0, 0.26, 13.41, 0.07, 0.035, 1, 4, 0, 1.515)
A(sky130_hilas_vinjdecode5, L133_0, 0.245, 19.96, 0.065, 0.04, 1, 4, 0, 1.515)
A(sky130_hilas_vinjdecode5, L133_0, 0.27, 26.595, 0.115, 0.03, 1, 4, 0, 1.515)
A(sky130_hilas_vinjdecode5, L133_0, 0.28, 33.11, 0.095, 0.02, 1, 4, 0, 1.515)
sky130_hilas_vinjdecode5.add(gdstk.FlexPath([(14.105,30.805),(14.105,38.835)], 0.18, ends="flush", simple_path=True, layer=32, datatype=0))  # L32_0
sky130_hilas_vinjdecode5.add(gdstk.FlexPath([(14.465,29.295),(14.465,38.835)], 0.18, ends="flush", simple_path=True, layer=32, datatype=0))  # L32_0
sky130_hilas_vinjdecode5.add(gdstk.FlexPath([(35.935,16.705),(35.935,10.53)], 0.22, ends="flush", simple_path=True, layer=32, datatype=0))  # L32_0
sky130_hilas_vinjdecode5.add(gdstk.FlexPath([(33.935,0.055),(33.935,17.505)], 0.18, ends="flush", simple_path=True, layer=32, datatype=0))  # L32_0
sky130_hilas_vinjdecode5.add(gdstk.FlexPath([(29.455,17.03),(29.455,28.085)], 0.18, ends="flush", simple_path=True, layer=32, datatype=0))  # L32_0
sky130_hilas_vinjdecode5.add(gdstk.FlexPath([(30.86,30.71),(30.86,17.88)], 0.23, ends="flush", simple_path=True, layer=32, datatype=0))  # L32_0
sky130_hilas_vinjdecode5.add(gdstk.FlexPath([(30.86,16.725),(30.86,2.925)], 0.23, ends="flush", simple_path=True, layer=32, datatype=0))  # L32_0
sky130_hilas_vinjdecode5.add(gdstk.FlexPath([(16.65,6.215),(16.65,25.995)], 0.27, ends="flush", simple_path=True, layer=32, datatype=0))  # L32_0
sky130_hilas_vinjdecode5.add(gdstk.FlexPath([(13.74,27.785),(13.74,34.805)], 0.18, ends="flush", simple_path=True, layer=32, datatype=0))  # L32_0
sky130_hilas_vinjdecode5.add(gdstk.FlexPath([(13.38,26.275),(13.38,28.27)], 0.18, ends="flush", simple_path=True, layer=32, datatype=0))  # L32_0
sky130_hilas_vinjdecode5.add(gdstk.FlexPath([(29.095,25.745),(29.095,30.82)], 0.18, ends="flush", simple_path=True, layer=32, datatype=0))  # L32_0
sky130_hilas_vinjdecode5.add(gdstk.FlexPath([(28.735,25.745),(28.735,29.665)], 0.18, ends="flush", simple_path=True, layer=32, datatype=0))  # L32_0
sky130_hilas_vinjdecode5.add(gdstk.FlexPath([(15.185,25.745),(15.185,37.845)], 0.18, ends="flush", simple_path=True, layer=32, datatype=0))  # L32_0
sky130_hilas_vinjdecode5.add(gdstk.FlexPath([(14.825,25.745),(14.825,36.335)], 0.18, ends="flush", simple_path=True, layer=32, datatype=0))  # L32_0
sky130_hilas_vinjdecode5.add(gdstk.FlexPath([(14.015,30.85),(15.565,30.85)], 0.09, ends="flush", simple_path=True, layer=31, datatype=0))  # L31_0
sky130_hilas_vinjdecode5.add(gdstk.FlexPath([(14.375,29.34),(15.565,29.34)], 0.09, ends="flush", simple_path=True, layer=31, datatype=0))  # L31_0
sky130_hilas_vinjdecode5.add(gdstk.FlexPath([(27.79,10.575),(36.005,10.575)], 0.09, ends="flush", simple_path=True, layer=31, datatype=0))  # L31_0
sky130_hilas_vinjdecode5.add(gdstk.FlexPath([(30.865,20.535),(24.845,20.535)], 0.09, ends="flush", simple_path=True, layer=31, datatype=0))  # L31_0
sky130_hilas_vinjdecode5.add(gdstk.FlexPath([(28.355,28.11),(29.525,28.11)], 0.09, ends="flush", simple_path=True, layer=31, datatype=0))  # L31_0
sky130_hilas_vinjdecode5.add(gdstk.FlexPath([(28.35,2.28),(34.025,2.28)], 0.09, ends="flush", simple_path=True, layer=31, datatype=0))  # L31_0
sky130_hilas_vinjdecode5.add(gdstk.FlexPath([(13.005,34.78),(13.795,34.78)], 0.09, ends="flush", simple_path=True, layer=31, datatype=0))  # L31_0
sky130_hilas_vinjdecode5.add(gdstk.FlexPath([(15.57,27.83),(13.745,27.83)], 0.09, ends="flush", simple_path=True, layer=31, datatype=0))  # L31_0
sky130_hilas_vinjdecode5.add(gdstk.FlexPath([(13.005,28.28),(13.455,28.28)], 0.09, ends="flush", simple_path=True, layer=31, datatype=0))  # L31_0
sky130_hilas_vinjdecode5.add(gdstk.FlexPath([(15.57,26.32),(13.35,26.32)], 0.09, ends="flush", simple_path=True, layer=31, datatype=0))  # L31_0
sky130_hilas_vinjdecode5.add(gdstk.FlexPath([(28.355,30.86),(29.16,30.86)], 0.09, ends="flush", simple_path=True, layer=31, datatype=0))  # L31_0
sky130_hilas_vinjdecode5.add(gdstk.FlexPath([(13.005,36.29),(14.8,36.29)], 0.09, ends="flush", simple_path=True, layer=31, datatype=0))  # L31_0
sky130_hilas_vinjdecode5.add(gdstk.FlexPath([(13.005,37.8),(15.195,37.8)], 0.09, ends="flush", simple_path=True, layer=31, datatype=0))  # L31_0
sky130_hilas_vinjdecode5.add(gdstk.FlexPath([(28.355,29.62),(28.765,29.62)], 0.09, ends="flush", simple_path=True, layer=31, datatype=0))  # L31_0
sky130_hilas_vinjdecode5.add(gdstk.FlexPath([(13.005,31.3),(15.195,31.3)], 0.09, ends="flush", simple_path=True, layer=31, datatype=0))  # L31_0
sky130_hilas_vinjdecode5.add(gdstk.FlexPath([(13.005,29.79),(14.8,29.79)], 0.09, ends="flush", simple_path=True, layer=31, datatype=0))  # L31_0
sky130_hilas_vinjdecode5.add(gdstk.Reference(sky130_hilas_vinjdecode4, (29.185,0.055), rotation=pi, x_reflection=True))
sky130_hilas_vinjdecode5.add(gdstk.Reference(sky130_hilas_vinjdecode2, (28.525,25.885), rotation=pi, x_reflection=True))
r = gdstk.Reference(sky130_hilas_vinjdecode2, (13.175,26.055), rotation=pi, x_reflection=True); r.repetition = gdstk.Repetition(1, 2, v1=(-13.119,0), v2=(0,6.5)); sky130_hilas_vinjdecode5.add(r)
sky130_hilas_vinjdecode5.add(gdstk.Reference(sky130_hilas_vinjnor3, (33.295,15.175), rotation=pi, x_reflection=True))
sky130_hilas_vinjdecode5.add(gdstk.Reference(m2_m1_cdns_664931487390, (14.105,30.895), rotation=pi, x_reflection=True))
sky130_hilas_vinjdecode5.add(gdstk.Reference(m2_m1_cdns_664931487390, (14.465,29.385), rotation=pi, x_reflection=True))
sky130_hilas_vinjdecode5.add(gdstk.Reference(m2_m1_cdns_664931487390, (35.915,10.62), rotation=pi, x_reflection=True))
sky130_hilas_vinjdecode5.add(gdstk.Reference(m2_m1_cdns_664931487390, (27.825,10.62), rotation=pi, x_reflection=True))
sky130_hilas_vinjdecode5.add(gdstk.Reference(m2_m1_cdns_664931487390, (29.455,28.065), rotation=pi, x_reflection=True))
sky130_hilas_vinjdecode5.add(gdstk.Reference(m2_m1_cdns_664931487390, (33.935,2.325), rotation=pi, x_reflection=True))
sky130_hilas_vinjdecode5.add(gdstk.Reference(m2_m1_cdns_664931487390, (13.74,34.735), rotation=pi, x_reflection=True))
sky130_hilas_vinjdecode5.add(gdstk.Reference(m2_m1_cdns_664931487390, (13.74,27.875), rotation=pi, x_reflection=True))
sky130_hilas_vinjdecode5.add(gdstk.Reference(m2_m1_cdns_664931487390, (13.38,28.235), rotation=pi, x_reflection=True))
sky130_hilas_vinjdecode5.add(gdstk.Reference(m2_m1_cdns_664931487390, (13.38,26.365), rotation=pi, x_reflection=True))
sky130_hilas_vinjdecode5.add(gdstk.Reference(m2_m1_cdns_664931487390, (29.095,30.815), rotation=pi, x_reflection=True))
sky130_hilas_vinjdecode5.add(gdstk.Reference(m2_m1_cdns_664931487390, (28.735,29.575), rotation=pi, x_reflection=True))
sky130_hilas_vinjdecode5.add(gdstk.Reference(m2_m1_cdns_664931487390, (15.185,37.755), rotation=pi, x_reflection=True))
sky130_hilas_vinjdecode5.add(gdstk.Reference(m2_m1_cdns_664931487390, (14.825,36.245), rotation=pi, x_reflection=True))
sky130_hilas_vinjdecode5.add(gdstk.Reference(m2_m1_cdns_664931487390, (14.825,29.835), rotation=pi, x_reflection=True))
sky130_hilas_vinjdecode5.add(gdstk.Reference(m2_m1_cdns_664931487390, (15.185,31.345), rotation=pi, x_reflection=True))
sky130_hilas_vinjdecode5.add(gdstk.Reference(m3_m2_cdns_664931487391, (29.455,17.105), rotation=pi, x_reflection=True))
sky130_hilas_vinjdecode5.add(gdstk.Reference(m2_m1_cdns_664931487392, (30.865,28.955), rotation=pi, x_reflection=True))
sky130_hilas_vinjdecode5.add(gdstk.Reference(m2_m1_cdns_664931487392, (30.865,20.535), rotation=pi, x_reflection=True))
sky130_hilas_vinjdecode5.add(gdstk.Reference(m2_m1_cdns_664931487392, (30.865,4.675), rotation=pi, x_reflection=True))
sky130_hilas_vinjdecode5.add(gdstk.Reference(m2_m1_cdns_664931487392, (30.86,13.57), rotation=pi, x_reflection=True))
sky130_hilas_vinjdecode5.add(gdstk.Reference(m1_od_cdns_664931487393, (30.865,28.955), rotation=pi, x_reflection=True))
sky130_hilas_vinjdecode5.add(gdstk.Reference(m1_od_cdns_664931487393, (30.865,20.535), rotation=pi, x_reflection=True))
sky130_hilas_vinjdecode5.add(gdstk.Reference(m1_od_cdns_664931487393, (30.865,4.675), rotation=pi, x_reflection=True))
sky130_hilas_vinjdecode5.add(gdstk.Reference(m1_od_cdns_664931487393, (30.86,13.57), rotation=pi, x_reflection=True))
sky130_hilas_vinjdecode5.add(gdstk.Reference(m2_m1_cdns_664931487394, (24.84,24.175), rotation=pi, x_reflection=True))
sky130_hilas_vinjdecode5.add(gdstk.Reference(m1_od_cdns_664931487395, (24.84,24.175), rotation=pi, x_reflection=True))
sky130_hilas_vinjdecode5.add(gdstk.Label('Output<24>', (0.31,0.435), layer=133, texttype=0))
sky130_hilas_vinjdecode5.add(gdstk.Label('Output<23>', (0.31,1.95), layer=133, texttype=0))
sky130_hilas_vinjdecode5.add(gdstk.Label('Output<22>', (0.31,3.465), layer=133, texttype=0))
sky130_hilas_vinjdecode5.add(gdstk.Label('Output<21>', (0.31,4.98), layer=133, texttype=0))
sky130_hilas_vinjdecode5.add(gdstk.Label('Output<20>', (0.31,6.96), layer=133, texttype=0))
sky130_hilas_vinjdecode5.add(gdstk.Label('Output<19>', (0.31,8.475), layer=133, texttype=0))
sky130_hilas_vinjdecode5.add(gdstk.Label('Output<18>', (0.31,9.99), layer=133, texttype=0))
sky130_hilas_vinjdecode5.add(gdstk.Label('Output<17>', (0.31,11.505), layer=133, texttype=0))
sky130_hilas_vinjdecode5.add(gdstk.Label('Output<16>', (0.28,13.455), layer=133, texttype=0))
sky130_hilas_vinjdecode5.add(gdstk.Label('Output<15>', (0.28,14.97), layer=133, texttype=0))
sky130_hilas_vinjdecode5.add(gdstk.Label('Output<14>', (0.28,16.485), layer=133, texttype=0))
sky130_hilas_vinjdecode5.add(gdstk.Label('Output<13>', (0.28,18), layer=133, texttype=0))
sky130_hilas_vinjdecode5.add(gdstk.Label('Output<12>', (0.28,19.985), layer=133, texttype=0))
sky130_hilas_vinjdecode5.add(gdstk.Label('Output<11>', (0.28,21.5), layer=133, texttype=0))
sky130_hilas_vinjdecode5.add(gdstk.Label('Output<10>', (0.28,23.015), layer=133, texttype=0))
sky130_hilas_vinjdecode5.add(gdstk.Label('Output<9>', (0.28,24.53), layer=133, texttype=0))
sky130_hilas_vinjdecode5.add(gdstk.Label('Output<8>', (0.31,26.61), layer=133, texttype=0))
sky130_hilas_vinjdecode5.add(gdstk.Label('Output<7>', (0.31,28.125), layer=133, texttype=0))
sky130_hilas_vinjdecode5.add(gdstk.Label('Output<6>', (0.31,29.64), layer=133, texttype=0))
sky130_hilas_vinjdecode5.add(gdstk.Label('Output<5>', (0.31,31.155), layer=133, texttype=0))
sky130_hilas_vinjdecode5.add(gdstk.Label('Output<4>', (0.325,33.11), layer=133, texttype=0))
sky130_hilas_vinjdecode5.add(gdstk.Label('Output<3>', (0.325,34.625), layer=133, texttype=0))
sky130_hilas_vinjdecode5.add(gdstk.Label('Output<2>', (0.325,36.14), layer=133, texttype=0))
sky130_hilas_vinjdecode5.add(gdstk.Label('Output<1>', (0.325,37.655), layer=133, texttype=0))
sky130_hilas_vinjdecode5.add(gdstk.Label('Output<26>', (14.08,38.52), layer=132, texttype=0))
sky130_hilas_vinjdecode5.add(gdstk.Label('Output<25>', (14.46,38.775), layer=132, texttype=0))
sky130_hilas_vinjdecode5.add(gdstk.Label('GND', (24.84,32.245), layer=132, texttype=0))
sky130_hilas_vinjdecode5.add(gdstk.Label('Vinj', (27.805,32.26), layer=132, texttype=0))
sky130_hilas_vinjdecode5.add(gdstk.Label('EnableBar', (36.525,17.27), layer=132, texttype=0))
sky130_hilas_vinjdecode5.add(gdstk.Label('B<4>', (33.925,0.115), layer=132, texttype=0))
sky130_hilas_vinjdecode5.add(gdstk.Label('B<3>', (28.72,0.245), layer=132, texttype=0))
sky130_hilas_vinjdecode5.add(gdstk.Label('B<2>', (29.08,0.245), layer=132, texttype=0))
sky130_hilas_vinjdecode5.add(gdstk.Label('B<1>', (14.815,0.285), layer=132, texttype=0))
sky130_hilas_vinjdecode5.add(gdstk.Label('B<0>', (15.18,0.29), layer=132, texttype=0))

lib.write_gds('sky130_hilas_VinjDecode5to24.gds')
